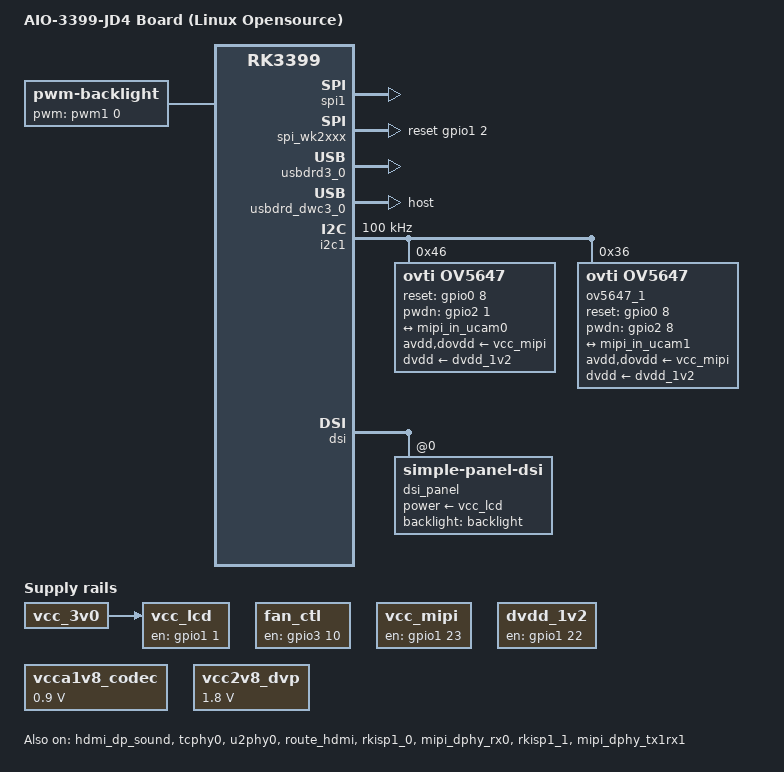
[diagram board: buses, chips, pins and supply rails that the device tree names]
/dts-v1/;

#include "rk3399-firefly-port.dtsi"
#include <dt-bindings/sensor-dev.h>

/* copy */
#include <dt-bindings/display/media-bus-format.h>

/ {
	model = "AIO-3399-JD4 Board (Linux Opensource)";
	compatible = "rockchip,rk3399-firefly", "rockchip,rk3399";

	test-power {
		status = "okay";
	};
	
	rt5640-sound {
		simple-audio-card,cpu {
		        sound-dai = <&i2s1>;
		};
		simple-audio-card,codec {
		        sound-dai = <&rt5640>;
		};
	};

	fan_ctl: fan-ctl-regulator {
		compatible = "regulator-fixed";
        	enable-active-high;
        	regulator-always-on;
		regulator-boot-on;
		gpio = <&gpio3 10 GPIO_ACTIVE_HIGH>;
		pinctrl-names = "default";
		regulator-name = "fan_ctl";
        	pinctrl-0 = <&fan_drv>;
	};


		 /* copy from aio 0330 */
    backlight: backlight {
        status = "okay";
        compatible = "pwm-backlight";
        pwms = <&pwm1 0 25000 0>;
        brightness-levels = <
              0   1   2   3   4   5   6   7
              8   9  10  11  12  13  14  15
             16  17  18  19  20  21  22  23
             24  25  26  27  28  29  30  31
             32  33  34  35  36  37  38  39
             40  41  42  43  44  45  46  47
             48  49  50  51  52  53  54  55
             56  57  58  59  60  61  62  63
             64  65  66  67  68  69  70  71
             72  73  74  75  76  77  78  79
             80  81  82  83  84  85  86  87
             88  89  90  91  92  93  94  95
             96  97  98  99 100 101 102 103
            104 105 106 107 108 109 110 111
            112 113 114 115 116 117 118 119
            120 121 122 123 124 125 126 127
            128 129 130 131 132 133 134 135
            136 137 138 139 140 141 142 143
            144 145 146 147 148 149 150 151
            152 153 154 155 156 157 158 159
            160 161 162 163 164 165 166 167
            168 169 170 171 172 173 174 175
            176 177 178 179 180 181 182 183
            184 185 186 187 188 189 190 191
            192 193 194 195 196 197 198 199
            200 201 202 203 204 205 206 207
            208 209 210 211 212 213 214 215
            216 217 218 219 220 221 222 223
            224 225 226 227 228 229 230 231
            232 233 234 235 236 237 238 239
            240 241 242 243 244 245 246 247
            248 249 250 251 252 253 254 255>;
        default-brightness-level = <50>;
    };

    /*  POWER CONTROL START */
    vcc_lcd: vcc-lcd {
        compatible = "regulator-fixed";
        enable-active-high;
        regulator-boot-on;
        gpio = <&gpio1 1 GPIO_ACTIVE_HIGH>;
        pinctrl-names = "default";
        pinctrl-0 = <&lcd_en>;
        regulator-name = "vcc_lcd";
        vin-supply = <&vcc_3v0>;
    };

    vcc_mipi: vcc_mipi {
        compatible = "regulator-fixed";
        enable-active-high;
        gpio = <&gpio1 23 GPIO_ACTIVE_HIGH>;
        pinctrl-names = "default";
        pinctrl-0 = <&dvp_pwr>;
        regulator-name = "vcc_mipi";
        status = "okay";
        };

    dvdd_1v2: dvdd-1v2 {
        compatible = "regulator-fixed";
        enable-active-high;
        gpio = <&gpio1 22 GPIO_ACTIVE_HIGH>;
        pinctrl-names = "default";
        pinctrl-0 = <&cif_pwr>;
        regulator-name = "dvdd_1v2";
        status = "okay";
        };

/* POWER CONTROL */


};

&gmac {
	tx_delay = <0x2F>;
	rx_delay = <0x1E>;
};

&vcc_sd {
	gpio = <&gpio1 22 GPIO_ACTIVE_HIGH>;
};

&hdmi_dp_sound {
	status = "okay";
};

&i2c2 {
	status = "disabled";
	i2c-scl-rising-time-ns = <300>;
	i2c-scl-falling-time-ns = <15>;

	sensor@4c {
		status = "disabled";
		compatible = "gs_mc3230";
		reg = <0x4c>;
		type = <SENSOR_TYPE_ACCEL>;
		irq_enable = <0>;
		poll_delay_ms = <30>;
		layout = <1>;
	};
};

&rt5640 {
    hp-det-adc-value = <900>;
    aux-det-adc-value = <900>;
    hp-con-gpio = <&gpio3 16 GPIO_ACTIVE_HIGH>;
    io-channels = <&saradc 3>,<&saradc 2>;
    io-channel-names = "hp-det","aux-det";
};

&rt5640_hpcon{
    rockchip,pins = <3 16 RK_FUNC_GPIO &pcfg_pull_none>;
};

&vcca1v8_codec {
	regulator-min-microvolt = <900000>;
	regulator-max-microvolt = <900000>;
};
&uart4 {
    status = "disabled";
};

&spi1 {
	dev-port = <0>;
    	status = "okay";
};

&spi_wk2xxx {
    status = "okay";
	reset-gpio = <&gpio1 2 GPIO_ACTIVE_HIGH>;
	irq-gpio = <&gpio2 8 IRQ_TYPE_EDGE_FALLING>;
	cs-gpio = <&gpio1 10 GPIO_ACTIVE_HIGH>;
};

&vcc3v3_3g {
	gpio = <&gpio2 28 GPIO_ACTIVE_HIGH>;
};

&vcc3v3_pcie {
	/delete-property/ gpio;
};

&uart4 {
    status = "disabled";
};

&dp_in_vopb {
	status = "disabled";
};

&hdmi_in_vopl {
	status = "disabled";
};

&wdt {
	status = "disabled";
};

&io_domains {
	bt656-supply = <&vcc_3v0>;
};

&vcc2v8_dvp {
	regulator-min-microvolt = <1800000>;
	regulator-max-microvolt = <1800000>;
};

&vcca1v8_codec {
	regulator-min-microvolt = <900000>;
	regulator-max-microvolt = <900000>;
};

&pinctrl {
	pinctrl-names = "default";
	pinctrl-0 = <&host_hub_vcc>;

	host-hub-vcc {
		host_hub_vcc: host-hub-vcc {
			rockchip,pins =
				<2 4 RK_FUNC_GPIO &pcfg_output_high>,
				<4 29 RK_FUNC_GPIO &pcfg_output_high>;
		};
	};

	pcie {
		pcie_3g_drv: pcie-3g-drv {
			rockchip,pins =
				<2 6 RK_FUNC_GPIO &pcfg_pull_up>;
		};
	};

	vcc_sd {
		vcc_sd_h: vcc-sd-h {
			rockchip,pins =
				<1 22 RK_FUNC_GPIO &pcfg_pull_up>;
		};
	};

	fan-ctl {
        	fan_drv: fan-drv {
             		rockchip,pins = <3 10 RK_FUNC_GPIO &pcfg_pull_none>;
        };
    };



	/* copy from aio 0330 */
    lcd {
        lcd_en: lcd-en  {
            rockchip,pins = <1 1 RK_FUNC_GPIO &pcfg_pull_none>;
        };
    };



};

&fusb0 {
    status = "disabled";
};

&cdn_dp {
    status = "disabled";
};

&tcphy0 {
    /delete-property/ extcon;
    status = "okay";
};

&u2phy0 {
    status = "okay";
    /delete-property/ extcon;

    u2phy0_otg: otg-port {
        rockchip,vbus-always-on;
        vbus-5v-gpios = <&gpio1 3 GPIO_ACTIVE_HIGH>;
        status = "okay";
    };
};

&usbdrd3_0 {
    status = "okay";
    /delete-property/ extcon;
};

&usbdrd_dwc3_0 {
    dr_mode = "host";
};

&route_hdmi {
	status = "okay";
};

&rk808 {
     /delete-property/ pmic,stby-gpio;
     /delete-property/ pmic,hold-gpio;
};

&vcc_mipi {
	status = "okay";
};

&dvdd_1v2 {
	status = "okay";
};

/* error
&ov13850 {
	status = "okay";
};

&ov13850_1 {
	status = "okay";
};
*/

&rkisp1_0 {
	status = "okay";
};

&mipi_dphy_rx0 {
	status = "okay";
};

&isp0_mmu {
	status = "okay";
};

&rkisp1_1 {
	status = "okay";
};

&mipi_dphy_tx1rx1 {
	status = "okay";
};

&isp1_mmu {
	status = "okay";
};



/* copy from old aio 0330 dts */


/* mipi csi start*/
&i2c1 {
    status = "okay";
    i2c-scl-rising-time-ns = <300>;
    i2c-scl-falling-time-ns = <15>;
    clock-frequency = <100000>;

    ov5647: ov5647@46 {
        compatible = "ovti,ov5647";
        status = "okay";
        reg = <0x46>;
        clocks = <&cru SCLK_CIF_OUT>;
        clock-names = "xvclk";

       // conflict with csi-ctl-gpios 
        reset-gpios = <&gpio0 8 GPIO_ACTIVE_HIGH>;
        pwdn-gpios = <&gpio2 1 GPIO_ACTIVE_HIGH>;
    //pinctrl-names = "rockchip,camera_default","rockchip,camera_sleep";
        //pinctrl-0 = <&cif_clkout>;
        //pinctrl-0 = <&cam0_default_pins>;
        //pinctrl-1 = <&cam0_sleep_pins>;

        avdd-supply = <&vcc_mipi>;  // VCC28_MIPI 
        dovdd-supply = <&vcc_mipi>; // VCC18_MIPI 
        dvdd-supply = <&dvdd_1v2>;  // DVDD_1V2 

        port {
           ucam_out0: endpoint {
               remote-endpoint = <&mipi_in_ucam0>;
               data-lanes = <1 2>;
           };
       };
    };


   ov5647_1: ov5647@36 {
       compatible = "ovti,ov5647";
       status = "okay";
       reg = <0x36>;
        clocks = <&cru SCLK_CIF_OUT>;
        clock-names = "xvclk";

        // conflict with csi-ctl-gpios 
        reset-gpios = <&gpio0 8 GPIO_ACTIVE_HIGH>;
        pwdn-gpios = <&gpio2 8 GPIO_ACTIVE_HIGH>;
    //pinctrl-names = "rockchip,camera_default", "rockchip,camera_sleep";
        //pinctrl-0 = <&cif_clkout>;
        //pinctrl-0 = <&cam0_default_pins>;
        //pinctrl-1 = <&cam0_sleep_pins>;

        avdd-supply = <&vcc_mipi>; // VCC28_MIPI 
        dovdd-supply = <&vcc_mipi>; // VCC18_MIPI 
        dvdd-supply = <&dvdd_1v2>; // DVDD_1V2 

        port {
            ucam_out1: endpoint {
                remote-endpoint = <&mipi_in_ucam1>;
                data-lanes = <1 2>;
            };
        };
    };

};
/* mipi csi end*/


/* mipi dsi start*/
&dsi {
    status = "okay";
    dsi_panel: panel {
        compatible ="simple-panel-dsi";
        reg = <0>;
        backlight = <&backlight>;
        power-supply = <&vcc_lcd>;
        dsi,flags = <(MIPI_DSI_MODE_VIDEO | MIPI_DSI_MODE_VIDEO_BURST)>;
        dsi,format = <MIPI_DSI_FMT_RGB888>;
        bus-format = <MEDIA_BUS_FMT_RGB666_1X18>;
        dsi,lanes = <4>;
        reset-delay-ms = <20>;
        init-delay-ms = <20>;
        enable-delay-ms = <120>;
        prepare-delay-ms = <120>;
        status = "okay";

        panel-init-sequence = [
            05 20 01 29
            05 96 01 11
        ];

        panel-exit-sequence = [
            05 05 01 28
            05 78 01 10
        ];

        disp_timings: display-timings {
            native-mode = <&timing0>;

            timing0: timing0 {
                clock-frequency = <74000000>;
                hactive = <1280>;
                vactive = <800>;
                hsync-len = <20>;
                hback-porch = <42>;
                hfront-porch = <138>;
                vsync-len = <2>;
                vback-porch = <4>;
                vfront-porch = <2>;
                hsync-active = <1>;
                vsync-active = <1>;
                de-active = <1>;
                pixelclk-active = <0>;
            };
        };
    };
};
/* mipi dsi end*/
